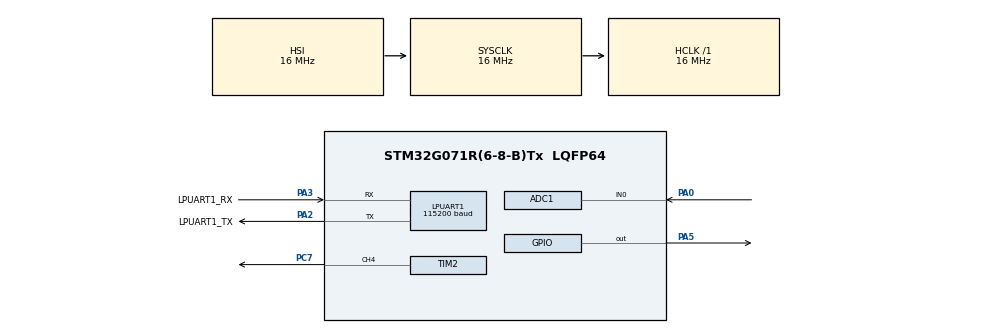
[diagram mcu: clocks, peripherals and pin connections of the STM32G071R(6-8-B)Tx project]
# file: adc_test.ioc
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ADC1.Channel-0\#ChannelRegularConversion=ADC_CHANNEL_0
ADC1.NbrOfConversionFlag=1
ADC1.Rank-0\#ChannelRegularConversion=1
ADC1.SamplingTime-0\#ChannelRegularConversion=ADC_SAMPLINGTIME_COMMON_1
ADC1.master=1
LPUART1.BaudRate=115200
LPUART1.WordLength=UART_WORDLENGTH_8B
Mcu.Family=STM32G0
Mcu.Name=STM32G071R(6-8-B)Tx
Mcu.Package=LQFP64
PA0.Mode=IN0
PA0.Signal=ADC1_IN0
PA13.GPIO_Label=TMS
PA13.Mode=Serial_Wire
PA13.Signal=SYS_SWDIO
PA14-BOOT0.GPIO_Label=TCK
PA14-BOOT0.Mode=Serial_Wire
PA14-BOOT0.Signal=SYS_SWCLK
PA2.GPIO_Label=LPUART1_TX
PA2.Mode=Asynchronous
PA2.Signal=LPUART1_TX
PA3.GPIO_Label=LPUART1_RX
PA3.Mode=Asynchronous
PA3.Signal=LPUART1_RX
PA5.Signal=GPIO_Output
PC13.Mode=SYS_WakeUp1
PC13.Signal=SYS_WKUP2
PC14-OSC32_IN\ (PC14).Mode=LSE-External-Oscillator
PC14-OSC32_IN\ (PC14).Signal=RCC_OSC32_IN
PC15-OSC32_OUT\ (PC15).Mode=LSE-External-Oscillator
PC15-OSC32_OUT\ (PC15).Signal=RCC_OSC32_OUT
PC7.Signal=S_TIM2_CH4
PF0-OSC_IN\ (PF0).GPIO_Label=MCO
PF0-OSC_IN\ (PF0).Mode=HSE-External-Clock-Source
PF0-OSC_IN\ (PF0).Signal=RCC_OSC_IN
ProjectManager.HeapSize=0x200
ProjectManager.StackSize=0x400
ProjectManager.TargetToolchain=STM32CubeIDE
RCC.AHBFreq_Value=16000000
RCC.CortexFreq_Value=16000000
RCC.EXTERNAL_CLOCK_VALUE=12288000
RCC.HCLKFreq_Value=16000000
RCC.HSE_VALUE=8000000
RCC.HSI_VALUE=16000000
RCC.SYSCLKFreq_VALUE=16000000
RCC.VCOOutputFreq_Value=128000000
SH.S_TIM2_CH4.0=TIM2_CH4,PWM Generation4 CH4
TIM2.Channel-PWM\ Generation4\ CH4=TIM_CHANNEL_4
TIM2.Period=100-1
TIM2.Prescaler=3200-1
VP_SYS_VS_DBSignals.Mode=DisableDeadBatterySignals
board=NUCLEO-G071RB

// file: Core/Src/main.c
/* USER CODE BEGIN Header */
/**
  ******************************************************************************
  * @file           : main.c
  * @brief          : Main program body
  ******************************************************************************
  * @attention
  *
  * <h2><center>&copy; Copyright (c) 2020 STMicroelectronics.
  * All rights reserved.</center></h2>
  *
  * This software component is licensed by ST under BSD 3-Clause license,
  * the "License"; You may not use this file except in compliance with the
  * License. You may obtain a copy of the License at:
  *                        opensource.org/licenses/BSD-3-Clause
  *
  ******************************************************************************
  */
/* USER CODE END Header */

#include "main.h"

/* USER CODE BEGIN Includes */
#include <string.h>
#include <stdio.h>
#include <stdlib.h>
#include <errno.h>
#include <sys/unistd.h> // STDOUT_FILENO, STDERR_FILENO
/* USER CODE END Includes */

/* USER CODE BEGIN PM */
#define CONSOLE_TEST 1

#define MAX_BUF_LEN 2
/* USER CODE END PM */

ADC_HandleTypeDef hadc1;

UART_HandleTypeDef hlpuart1;

TIM_HandleTypeDef htim2;

void SystemClock_Config(void);
static void MX_GPIO_Init(void);
static void MX_ADC1_Init(void);
static void MX_LPUART1_UART_Init(void);
static void MX_TIM2_Init(void);
/* USER CODE BEGIN PFP */
void user_pwm_setvalue(TIM_HandleTypeDef *htim, uint32_t channel, uint16_t value);

/*custom system call for printf*/
int _write(int file, char *data, int len);
/* USER CODE END PFP */

int main(void)
{
  /* USER CODE BEGIN 1 */
	uint16_t raw;

#if CONSOLE_TEST
	char buf[MAX_BUF_LEN];
	int ret = 0;
	uint16_t inVal=0, pwm_value = 0;
#endif

  /* USER CODE END 1 */

  /* MCU Configuration--------------------------------------------------------*/

  /* Reset of all peripherals, Initializes the Flash interface and the Systick. */
  HAL_Init();

  /* Configure the system clock */
  SystemClock_Config();

  /* Initialize all configured peripherals */
  MX_GPIO_Init();
  MX_ADC1_Init();
  MX_LPUART1_UART_Init();
  MX_TIM2_Init();
  /* USER CODE BEGIN 2 */
  printf("\r\nEnter 2 digit PWM value 1 unit = 0.2 ms \r\nCentre = 1.5 ms, Right 90 = 2 ms, Left 90 = 1 ms \n\r");
  /* USER CODE END 2 */

  /* Infinite loop */
  /* USER CODE BEGIN WHILE */
  while (1)
  {
	  // Test: Set GPIO pin high  //LD4 drive LED
	  HAL_GPIO_WritePin(GPIOA, GPIO_PIN_5,  GPIO_PIN_SET);

	  // Get ADC value
	  HAL_ADC_Start(&hadc1);
	  HAL_ADC_PollForConversion(&hadc1, HAL_MAX_DELAY);
	  raw = HAL_ADC_GetValue(&hadc1);
	  printf("ADC val = %hu\r\n", raw);
	  HAL_GPIO_WritePin(GPIOA, GPIO_PIN_5,  GPIO_PIN_RESET);
	  // Convert to string and print
#if CONSOLE_TEST

	  /*ret = fgets(buf, sizeof(buf), stdin);
	  if(0 < ret)
		  printf("%u", inVal);*/

	  while(HAL_UART_Receive(&hlpuart1, (uint8_t*)buf, 2, 0xFFFF) != HAL_OK);
	  pwm_value = atoi(buf);
	  printf("Value entered = %d\r\n",pwm_value);

	  user_pwm_setvalue(&htim2, TIM_CHANNEL_4, pwm_value);
	  printf("\r\npwm value = %d    1 unit = 0.2 ms    Pos = %d \r\n", pwm_value, pwm_value*2);
	  printf("Centre = 1.5 ms, Right 90 = 2 ms, Left 90 = 1 ms\r\n");

#endif
	  //HAL_Delay(1000);
    /* USER CODE END WHILE */

  }
}

void SystemClock_Config(void)
{
  RCC_OscInitTypeDef RCC_OscInitStruct = {0};
  RCC_ClkInitTypeDef RCC_ClkInitStruct = {0};
  RCC_PeriphCLKInitTypeDef PeriphClkInit = {0};

  /** Configure the main internal regulator output voltage
  */
  HAL_PWREx_ControlVoltageScaling(PWR_REGULATOR_VOLTAGE_SCALE1);
  /** Initializes the CPU, AHB and APB busses clocks
  */
  RCC_OscInitStruct.OscillatorType = RCC_OSCILLATORTYPE_HSI;
  RCC_OscInitStruct.HSIState = RCC_HSI_ON;
  RCC_OscInitStruct.HSIDiv = RCC_HSI_DIV1;
  RCC_OscInitStruct.HSICalibrationValue = RCC_HSICALIBRATION_DEFAULT;
  RCC_OscInitStruct.PLL.PLLState = RCC_PLL_NONE;
  if (HAL_RCC_OscConfig(&RCC_OscInitStruct) != HAL_OK)
  {
    Error_Handler();
  }
  /** Initializes the CPU, AHB and APB busses clocks
  */
  RCC_ClkInitStruct.ClockType = RCC_CLOCKTYPE_HCLK|RCC_CLOCKTYPE_SYSCLK
                              |RCC_CLOCKTYPE_PCLK1;
  RCC_ClkInitStruct.SYSCLKSource = RCC_SYSCLKSOURCE_HSI;
  RCC_ClkInitStruct.AHBCLKDivider = RCC_SYSCLK_DIV1;
  RCC_ClkInitStruct.APB1CLKDivider = RCC_HCLK_DIV1;

  if (HAL_RCC_ClockConfig(&RCC_ClkInitStruct, FLASH_LATENCY_0) != HAL_OK)
  {
    Error_Handler();
  }
  /** Initializes the peripherals clocks
  */
  PeriphClkInit.PeriphClockSelection = RCC_PERIPHCLK_LPUART1|RCC_PERIPHCLK_ADC;
  PeriphClkInit.Lpuart1ClockSelection = RCC_LPUART1CLKSOURCE_PCLK1;
  PeriphClkInit.AdcClockSelection = RCC_ADCCLKSOURCE_SYSCLK;
  if (HAL_RCCEx_PeriphCLKConfig(&PeriphClkInit) != HAL_OK)
  {
    Error_Handler();
  }
}

static void MX_ADC1_Init(void)
{

  ADC_ChannelConfTypeDef sConfig = {0};

  /** Configure the global features of the ADC (Clock, Resolution, Data Alignment and number of conversion)
  */
  hadc1.Instance = ADC1;
  hadc1.Init.ClockPrescaler = ADC_CLOCK_SYNC_PCLK_DIV2;
  hadc1.Init.Resolution = ADC_RESOLUTION_12B;
  hadc1.Init.DataAlign = ADC_DATAALIGN_RIGHT;
  hadc1.Init.ScanConvMode = ADC_SCAN_DISABLE;
  hadc1.Init.EOCSelection = ADC_EOC_SINGLE_CONV;
  hadc1.Init.LowPowerAutoWait = DISABLE;
  hadc1.Init.LowPowerAutoPowerOff = DISABLE;
  hadc1.Init.ContinuousConvMode = DISABLE;
  hadc1.Init.NbrOfConversion = 1;
  hadc1.Init.DiscontinuousConvMode = DISABLE;
  hadc1.Init.ExternalTrigConv = ADC_SOFTWARE_START;
  hadc1.Init.ExternalTrigConvEdge = ADC_EXTERNALTRIGCONVEDGE_NONE;
  hadc1.Init.DMAContinuousRequests = DISABLE;
  hadc1.Init.Overrun = ADC_OVR_DATA_PRESERVED;
  hadc1.Init.SamplingTimeCommon1 = ADC_SAMPLETIME_1CYCLE_5;
  hadc1.Init.SamplingTimeCommon2 = ADC_SAMPLETIME_1CYCLE_5;
  hadc1.Init.OversamplingMode = DISABLE;
  hadc1.Init.TriggerFrequencyMode = ADC_TRIGGER_FREQ_HIGH;
  if (HAL_ADC_Init(&hadc1) != HAL_OK)
  {
    Error_Handler();
  }
  /** Configure Regular Channel
  */
  sConfig.Channel = ADC_CHANNEL_0;
  sConfig.Rank = ADC_REGULAR_RANK_1;
  sConfig.SamplingTime = ADC_SAMPLINGTIME_COMMON_1;
  if (HAL_ADC_ConfigChannel(&hadc1, &sConfig) != HAL_OK)
  {
    Error_Handler();
  }

}

static void MX_LPUART1_UART_Init(void)
{

  hlpuart1.Instance = LPUART1;
  hlpuart1.Init.BaudRate = 115200;
  hlpuart1.Init.WordLength = UART_WORDLENGTH_8B;
  hlpuart1.Init.StopBits = UART_STOPBITS_1;
  hlpuart1.Init.Parity = UART_PARITY_NONE;
  hlpuart1.Init.Mode = UART_MODE_TX_RX;
  hlpuart1.Init.HwFlowCtl = UART_HWCONTROL_NONE;
  hlpuart1.Init.OneBitSampling = UART_ONE_BIT_SAMPLE_DISABLE;
  hlpuart1.Init.ClockPrescaler = UART_PRESCALER_DIV1;
  hlpuart1.AdvancedInit.AdvFeatureInit = UART_ADVFEATURE_NO_INIT;
  hlpuart1.FifoMode = UART_FIFOMODE_DISABLE;
  if (HAL_UART_Init(&hlpuart1) != HAL_OK)
  {
    Error_Handler();
  }
  if (HAL_UARTEx_SetTxFifoThreshold(&hlpuart1, UART_TXFIFO_THRESHOLD_1_8) != HAL_OK)
  {
    Error_Handler();
  }
  if (HAL_UARTEx_SetRxFifoThreshold(&hlpuart1, UART_RXFIFO_THRESHOLD_1_8) != HAL_OK)
  {
    Error_Handler();
  }
  if (HAL_UARTEx_DisableFifoMode(&hlpuart1) != HAL_OK)
  {
    Error_Handler();
  }

}

static void MX_TIM2_Init(void)
{

  TIM_MasterConfigTypeDef sMasterConfig = {0};
  TIM_OC_InitTypeDef sConfigOC = {0};

  htim2.Instance = TIM2;
  htim2.Init.Prescaler = 3200-1;
  htim2.Init.CounterMode = TIM_COUNTERMODE_UP;
  htim2.Init.Period = 100-1;
  htim2.Init.ClockDivision = TIM_CLOCKDIVISION_DIV1;
  htim2.Init.AutoReloadPreload = TIM_AUTORELOAD_PRELOAD_DISABLE;
  if (HAL_TIM_PWM_Init(&htim2) != HAL_OK)
  {
    Error_Handler();
  }
  sMasterConfig.MasterOutputTrigger = TIM_TRGO_RESET;
  sMasterConfig.MasterSlaveMode = TIM_MASTERSLAVEMODE_DISABLE;
  if (HAL_TIMEx_MasterConfigSynchronization(&htim2, &sMasterConfig) != HAL_OK)
  {
    Error_Handler();
  }
  sConfigOC.OCMode = TIM_OCMODE_PWM1;
  sConfigOC.Pulse = 0;
  sConfigOC.OCPolarity = TIM_OCPOLARITY_HIGH;
  sConfigOC.OCFastMode = TIM_OCFAST_DISABLE;
  if (HAL_TIM_PWM_ConfigChannel(&htim2, &sConfigOC, TIM_CHANNEL_4) != HAL_OK)
  {
    Error_Handler();
  }
  HAL_TIM_MspPostInit(&htim2);

}

static void MX_GPIO_Init(void)
{
  GPIO_InitTypeDef GPIO_InitStruct = {0};

  /* GPIO Ports Clock Enable */
  __HAL_RCC_GPIOC_CLK_ENABLE();
  __HAL_RCC_GPIOF_CLK_ENABLE();
  __HAL_RCC_GPIOA_CLK_ENABLE();

  /*Configure GPIO pin Output Level */
  HAL_GPIO_WritePin(GPIOA, GPIO_PIN_5, GPIO_PIN_RESET);

  /*Configure GPIO pin : PA5 */
  GPIO_InitStruct.Pin = GPIO_PIN_5;
  GPIO_InitStruct.Mode = GPIO_MODE_OUTPUT_PP;
  GPIO_InitStruct.Pull = GPIO_NOPULL;
  GPIO_InitStruct.Speed = GPIO_SPEED_FREQ_LOW;
  HAL_GPIO_Init(GPIOA, &GPIO_InitStruct);

}

/* USER CODE BEGIN 4 */

void user_pwm_setvalue(TIM_HandleTypeDef *htim, uint32_t channel, uint16_t value)
{
	 TIM_OC_InitTypeDef sConfigOC;

	 /* Common settings for all channels */
	 sConfigOC.OCMode = TIM_OCMODE_PWM1;
	 sConfigOC.Pulse = value;
	 sConfigOC.OCPolarity = TIM_OCPOLARITY_HIGH;
	 sConfigOC.OCFastMode = TIM_OCFAST_DISABLE;
	 HAL_TIM_PWM_ConfigChannel(htim, &sConfigOC, channel);
	 HAL_TIM_PWM_Start(htim, channel);
}

int _write(int file, char *data, int len)
{
	if ((file != STDOUT_FILENO) && (file != STDERR_FILENO))
	{
	  errno = EBADF;
	  return -1;
	}

	// arbitrary timeout 1000
	HAL_StatusTypeDef status =
	  HAL_UART_Transmit(&hlpuart1, (uint8_t*)data, len, 1000);

	// return # of bytes written - as best we can tell
	return (status == HAL_OK ? len : 0);
}

/* USER CODE END 4 */

void Error_Handler(void)
{
}

/************************ (C) COPYRIGHT STMicroelectronics *****END OF FILE****/
